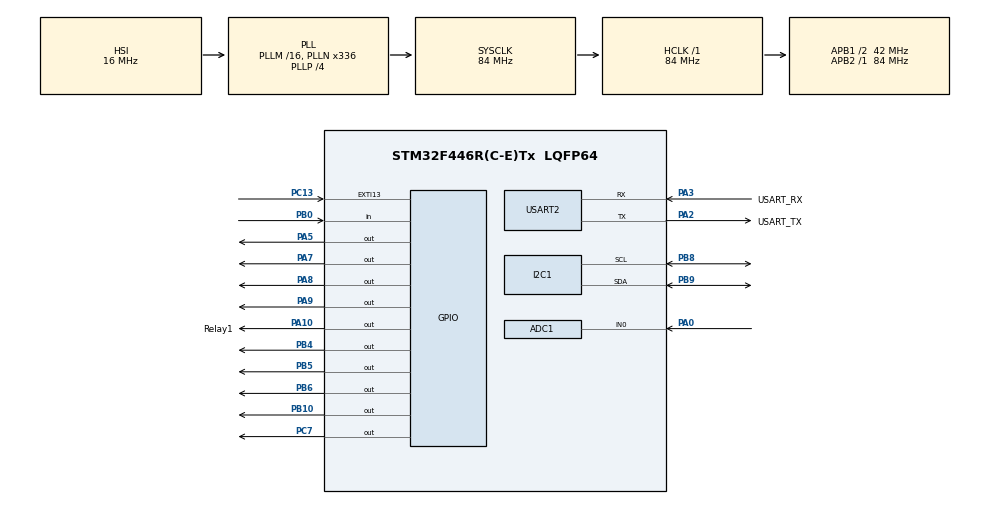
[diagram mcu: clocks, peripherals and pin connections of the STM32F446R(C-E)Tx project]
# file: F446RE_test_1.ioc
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ADC1.Channel-1\#ChannelRegularConversion=ADC_CHANNEL_0
ADC1.NbrOfConversionFlag=1
ADC1.Rank-1\#ChannelRegularConversion=1
ADC1.SamplingTime-1\#ChannelRegularConversion=ADC_SAMPLETIME_3CYCLES
ADC1.master=1
I2C1.I2C_Mode=I2C_Fast
Mcu.Family=STM32F4
Mcu.Name=STM32F446R(C-E)Tx
Mcu.Package=LQFP64
NUCLEO-F446RE.BUTTON=1
NUCLEO-F446RE.LD1=true
NVIC.EXTI15_10_IRQn=true\:0\:0\:false\:false\:true\:false\:true\:true
NVIC.PriorityGroup=NVIC_PRIORITYGROUP_0
PA0-WKUP.Signal=ADCx_IN0
PA10.GPIO_Label=Relay1
PA10.PinState=GPIO_PIN_SET
PA10.Signal=GPIO_Output
PA13.GPIO_Label=TMS
PA13.Mode=Serial_Wire
PA13.Signal=SYS_JTMS-SWDIO
PA14.GPIO_Label=TCK
PA14.Mode=Serial_Wire
PA14.Signal=SYS_JTCK-SWCLK
PA2.GPIO_Label=USART_TX
PA2.Mode=Asynchronous
PA2.Signal=USART2_TX
PA3.GPIO_Label=USART_RX
PA3.Mode=Asynchronous
PA3.Signal=USART2_RX
PA5.Signal=GPIO_Output
PA7.PinState=GPIO_PIN_SET
PA7.Signal=GPIO_Output
PA8.Signal=GPIO_Output
PA9.PinState=GPIO_PIN_SET
PA9.Signal=GPIO_Output
PB0.Signal=GPIO_Input
PB10.Signal=GPIO_Output
PB3.GPIO_Label=SWO
PB3.Signal=SYS_JTDO-SWO
PB4.Signal=GPIO_Output
PB5.Signal=GPIO_Output
PB6.PinState=GPIO_PIN_SET
PB6.Signal=GPIO_Output
PB8.Mode=I2C
PB8.Signal=I2C1_SCL
PB9.Mode=I2C
PB9.Signal=I2C1_SDA
PC13.Signal=GPXTI13
PC14-OSC32_IN.Signal=RCC_OSC32_IN
PC15-OSC32_OUT.Signal=RCC_OSC32_OUT
PC7.PinState=GPIO_PIN_SET
PC7.Signal=GPIO_Output
PH0-OSC_IN.Signal=RCC_OSC_IN
PH1-OSC_OUT.Signal=RCC_OSC_OUT
ProjectManager.HeapSize=0x200
ProjectManager.StackSize=0x400
ProjectManager.TargetToolchain=CMake
RCC.AHBFreq_Value=84000000
RCC.APB1CLKDivider=RCC_HCLK_DIV2
RCC.APB1Freq_Value=42000000
RCC.APB1TimFreq_Value=84000000
RCC.APB2Freq_Value=84000000
RCC.APB2TimFreq_Value=84000000
RCC.CortexFreq_Value=84000000
RCC.FLatency-AdvancedSettings=FLASH_LATENCY_2
RCC.HCLKFreq_Value=84000000
RCC.HSE_VALUE=8000000
RCC.HSI_VALUE=16000000
RCC.LSE_VALUE=32768
RCC.PLLN=336
RCC.PLLP=RCC_PLLP_DIV4
RCC.SYSCLKFreq_VALUE=84000000
RCC.SYSCLKSource=RCC_SYSCLKSOURCE_PLLCLK
RCC.USBFreq_Value=168000000
RCC.VCOOutputFreq_Value=336000000
SH.ADCx_IN0.0=ADC1_IN0,IN0
USART2.VirtualMode=VM_ASYNC
VP_NUCLEO-F446RE_VS_BSP_COMMON.Mode=COMMON
board=NUCLEO-F446RE

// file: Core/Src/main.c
/* USER CODE BEGIN Header */
/**
  ******************************************************************************
  * @file           : main.c
  * @brief          : Main program body
  ******************************************************************************
  * @attention
  *
  * Copyright (c) 2026 STMicroelectronics.
  * All rights reserved.
  *
  * This software is licensed under terms that can be found in the LICENSE file
  * in the root directory of this software component.
  * If no LICENSE file comes with this software, it is provided AS-IS.
  *
  ******************************************************************************
  */
/* USER CODE END Header */
#include "main.h"
#include "adc.h"
#include "i2c.h"
#include "usart.h"
#include "gpio.h"

/* USER CODE BEGIN Includes */
#include "stdio.h"
#include "ssd1306.h"
/* USER CODE END Includes */

void SystemClock_Config(void);

/* USER CODE BEGIN 0 */

/* 读取光敏电阻 ADC（PA0 = ADC1_IN0，12 位，0~4095） */
static uint32_t LDR_Read(void)
{
  uint32_t raw = 0;
  HAL_ADC_Start(&hadc1);
  if (HAL_ADC_PollForConversion(&hadc1, 100) == HAL_OK)
  {
    raw = HAL_ADC_GetValue(&hadc1);
  }
  HAL_ADC_Stop(&hadc1);
  return raw;
}

// 键盘扫描函数
char Keypad_Scan(void)
{
    char key = 0;

    // 扫描第一行 (R1)
    HAL_GPIO_WritePin(GPIOB, GPIO_PIN_5, GPIO_PIN_RESET);
    HAL_GPIO_WritePin(GPIOB, GPIO_PIN_4, GPIO_PIN_SET);
    HAL_GPIO_WritePin(GPIOB, GPIO_PIN_10, GPIO_PIN_SET);
    HAL_GPIO_WritePin(GPIOA, GPIO_PIN_8, GPIO_PIN_SET);
    if (HAL_GPIO_ReadPin(GPIOA, GPIO_PIN_9) == GPIO_PIN_RESET) key = '1';
    if (HAL_GPIO_ReadPin(GPIOC, GPIO_PIN_7) == GPIO_PIN_RESET) key = '2';
    if (HAL_GPIO_ReadPin(GPIOB, GPIO_PIN_6) == GPIO_PIN_RESET) key = '3';
    if (HAL_GPIO_ReadPin(GPIOA, GPIO_PIN_7) == GPIO_PIN_RESET) key = 'A';

    // 扫描第二行 (R2)
    HAL_GPIO_WritePin(GPIOB, GPIO_PIN_5, GPIO_PIN_SET);
    HAL_GPIO_WritePin(GPIOB, GPIO_PIN_4, GPIO_PIN_RESET);
    HAL_GPIO_WritePin(GPIOB, GPIO_PIN_10, GPIO_PIN_SET);
    HAL_GPIO_WritePin(GPIOA, GPIO_PIN_8, GPIO_PIN_SET);
    if (HAL_GPIO_ReadPin(GPIOA, GPIO_PIN_9) == GPIO_PIN_RESET) key = '4';
    if (HAL_GPIO_ReadPin(GPIOC, GPIO_PIN_7) == GPIO_PIN_RESET) key = '5';
    if (HAL_GPIO_ReadPin(GPIOB, GPIO_PIN_6) == GPIO_PIN_RESET) key = '6';
    if (HAL_GPIO_ReadPin(GPIOA, GPIO_PIN_7) == GPIO_PIN_RESET) key = 'B';

    // 扫描第三行 (R3)
    HAL_GPIO_WritePin(GPIOB, GPIO_PIN_5, GPIO_PIN_SET);
    HAL_GPIO_WritePin(GPIOB, GPIO_PIN_4, GPIO_PIN_SET);
    HAL_GPIO_WritePin(GPIOB, GPIO_PIN_10, GPIO_PIN_RESET);
    HAL_GPIO_WritePin(GPIOA, GPIO_PIN_8, GPIO_PIN_SET);
    if (HAL_GPIO_ReadPin(GPIOA, GPIO_PIN_9) == GPIO_PIN_RESET) key = '7';
    if (HAL_GPIO_ReadPin(GPIOC, GPIO_PIN_7) == GPIO_PIN_RESET) key = '8';
    if (HAL_GPIO_ReadPin(GPIOB, GPIO_PIN_6) == GPIO_PIN_RESET) key = '9';
    if (HAL_GPIO_ReadPin(GPIOA, GPIO_PIN_7) == GPIO_PIN_RESET) key = 'C';

    // 扫描第四行 (R4)
    HAL_GPIO_WritePin(GPIOB, GPIO_PIN_5, GPIO_PIN_SET);
    HAL_GPIO_WritePin(GPIOB, GPIO_PIN_4, GPIO_PIN_SET);
    HAL_GPIO_WritePin(GPIOB, GPIO_PIN_10, GPIO_PIN_SET);
    HAL_GPIO_WritePin(GPIOA, GPIO_PIN_8, GPIO_PIN_RESET);
    if (HAL_GPIO_ReadPin(GPIOA, GPIO_PIN_9) == GPIO_PIN_RESET) key = '*';
    if (HAL_GPIO_ReadPin(GPIOC, GPIO_PIN_7) == GPIO_PIN_RESET) key = '0';
    if (HAL_GPIO_ReadPin(GPIOB, GPIO_PIN_6) == GPIO_PIN_RESET) key = '#';
    if (HAL_GPIO_ReadPin(GPIOA, GPIO_PIN_7) == GPIO_PIN_RESET) key = 'D';

    // 恢复所有行为高电平
    HAL_GPIO_WritePin(GPIOA, GPIO_PIN_8, GPIO_PIN_SET);

    return key;
}
/* USER CODE END 0 */

int main(void)
{

  /* MCU Configuration--------------------------------------------------------*/

  /* Reset of all peripherals, Initializes the Flash interface and the Systick. */
  HAL_Init();

  /* Configure the system clock */
  SystemClock_Config();

  /* Initialize all configured peripherals */
  MX_GPIO_Init();
  MX_USART2_UART_Init();
  MX_ADC1_Init();
  MX_I2C1_Init();
  /* USER CODE BEGIN 2 */
  OLED_Init(); // 初始化屏幕
  OLED_Clear();
  OLED_ShowString(0, 0, "FYP SYSTEM", 1); // 显示开机文字
  /* USER CODE END 2 */

  /* Initialize leds */
  BSP_LED_Init(LED2);

  /* Initialize USER push-button, will be used to trigger an interrupt each time it's pressed.*/
  BSP_PB_Init(BUTTON_USER, BUTTON_MODE_EXTI);

  /* Infinite loop */
  while (1)
  {

    /* USER CODE BEGIN 3 */

    // 键盘扫描测试
    char key = Keypad_Scan();
    if (key != 0) {
        printf("Key Pressed: %c\r\n", key);

        // 死等按键松开（简单的防抖和防重复打印）
        while(Keypad_Scan() != 0) {
            HAL_Delay(10);
        }
        HAL_Delay(20); // 松手后再延时一下
    }

      // 1. 读取并打印光敏电阻
      uint32_t ldr_val = LDR_Read();
      printf("LDR=%lu\r\n", (unsigned long)ldr_val);

      // 2. 继电器吸合 (H触发，拉高)
      HAL_GPIO_WritePin(Relay1_GPIO_Port, Relay1_Pin, GPIO_PIN_SET);
      printf("RELAY ON   (IN = HIGH)\r\n");

      // 3. 拆分 2 秒延时，在 2 秒内每 100ms 检测一次 PIR
      for(int i = 0; i < 20; i++) {
          static uint8_t last_pir_state = 0;
          uint8_t current_pir_state = HAL_GPIO_ReadPin(GPIOB, GPIO_PIN_0);

          // 边沿检测：只在状态发生改变时打印
          if (current_pir_state == GPIO_PIN_SET && last_pir_state == 0) {
              printf(">>> PIR=1 (Motion Detected!)\r\n");
              last_pir_state = 1;
          } else if (current_pir_state == GPIO_PIN_RESET && last_pir_state == 1) {
              printf(">>> PIR=0 (Motion Ended)\r\n");
              last_pir_state = 0;
          }
          HAL_Delay(100);
      }

      // 4. 继电器断开 (拉低)
      HAL_GPIO_WritePin(Relay1_GPIO_Port, Relay1_Pin, GPIO_PIN_RESET);
      printf("RELAY OFF  (IN = LOW)\r\n");

      // 5. 继电器断开后的 2 秒延时
      HAL_Delay(2000);

          // 把数据显示在屏幕上
    OLED_ShowString(0, 2, "LDR: ", 1);
    OLED_ShowNum(30, 2, ldr_val, 4, 1); // 在第一页第二行显示

    // 如果你把 PIR 存在变量里了：
    // OLED_ShowString(0, 4, "PIR: ", 1);
    // OLED_ShowString(30, 4, pir_state ? "YES" : "NO ", 1);

    HAL_Delay(500); // 稍微加个延时
  }
  /* USER CODE END 3 */
}

void SystemClock_Config(void)
{
  RCC_OscInitTypeDef RCC_OscInitStruct = {0};
  RCC_ClkInitTypeDef RCC_ClkInitStruct = {0};

  /** Configure the main internal regulator output voltage
  */
  __HAL_RCC_PWR_CLK_ENABLE();
  __HAL_PWR_VOLTAGESCALING_CONFIG(PWR_REGULATOR_VOLTAGE_SCALE3);

  /** Initializes the RCC Oscillators according to the specified parameters
  * in the RCC_OscInitTypeDef structure.
  */
  RCC_OscInitStruct.OscillatorType = RCC_OSCILLATORTYPE_HSI;
  RCC_OscInitStruct.HSIState = RCC_HSI_ON;
  RCC_OscInitStruct.HSICalibrationValue = RCC_HSICALIBRATION_DEFAULT;
  RCC_OscInitStruct.PLL.PLLState = RCC_PLL_ON;
  RCC_OscInitStruct.PLL.PLLSource = RCC_PLLSOURCE_HSI;
  RCC_OscInitStruct.PLL.PLLM = 16;
  RCC_OscInitStruct.PLL.PLLN = 336;
  RCC_OscInitStruct.PLL.PLLP = RCC_PLLP_DIV4;
  RCC_OscInitStruct.PLL.PLLQ = 2;
  RCC_OscInitStruct.PLL.PLLR = 2;
  if (HAL_RCC_OscConfig(&RCC_OscInitStruct) != HAL_OK)
  {
    Error_Handler();
  }

  /** Initializes the CPU, AHB and APB buses clocks
  */
  RCC_ClkInitStruct.ClockType = RCC_CLOCKTYPE_HCLK|RCC_CLOCKTYPE_SYSCLK
                              |RCC_CLOCKTYPE_PCLK1|RCC_CLOCKTYPE_PCLK2;
  RCC_ClkInitStruct.SYSCLKSource = RCC_SYSCLKSOURCE_PLLCLK;
  RCC_ClkInitStruct.AHBCLKDivider = RCC_SYSCLK_DIV1;
  RCC_ClkInitStruct.APB1CLKDivider = RCC_HCLK_DIV2;
  RCC_ClkInitStruct.APB2CLKDivider = RCC_HCLK_DIV1;

  if (HAL_RCC_ClockConfig(&RCC_ClkInitStruct, FLASH_LATENCY_2) != HAL_OK)
  {
    Error_Handler();
  }
}

/* USER CODE BEGIN 4 */
int __io_putchar(int ch)
{
  HAL_UART_Transmit(&huart2, (uint8_t*)&ch, 1, HAL_MAX_DELAY);
  return ch;
}
/* USER CODE END 4 */

void Error_Handler(void)
{
  __disable_irq();
  while (1)
  {
  }
}
